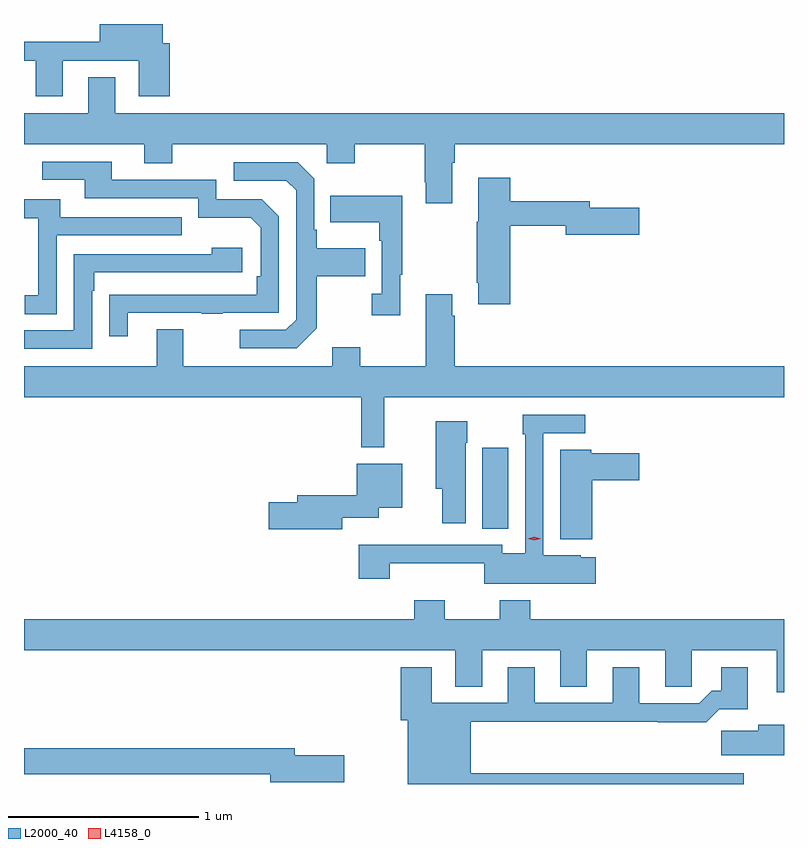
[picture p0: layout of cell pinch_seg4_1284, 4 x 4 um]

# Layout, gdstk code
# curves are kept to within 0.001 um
import gdstk
lib = gdstk.Library(unit=1e-6, precision=1e-09)
def R(c, l, rs):  # rectangles x0, y0, x1, y1
    for r in rs: c.add(gdstk.rectangle(r[:2], r[2:], *l))
def P(c, l, *ps):  # polygons
    for p in ps: c.add(gdstk.Polygon(p, *l))
L2000_40 = (2000, 40)
L4158_0 = (4158, 0)

pinch_seg4_1284 = lib.new_cell('pinch_seg4_1284')
R(pinch_seg4_1284, L2000_40, [(269.69,772.153,269.827,772.579)])
P(pinch_seg4_1284, L2000_40, [(267.481,774.615),(267.881,774.615),(267.881,774.429),(268.046,774.429),(268.046,774.708),(268.009,774.708),(268.009,774.809),(267.677,774.809),(267.677,774.716),(267.278,774.716),(267.278,774.615),(267.341,774.615),(267.341,774.429),(267.481,774.429)],
  [(269.533,774.08),(269.546,774.08),(269.546,774.176),(271.278,774.176),(271.278,774.34),(267.757,774.34),(267.757,774.53),(267.617,774.53),(267.617,774.34),(267.278,774.34),(267.278,774.176),(267.911,774.176),(267.911,774.077),(268.059,774.077),(268.059,774.176),(268.872,774.176),(268.872,774.077),(269.019,774.077),(269.019,774.176),(269.386,774.176),(269.386,773.977),(269.393,773.977),(269.393,773.865),(269.533,773.865)],
  [(267.823,773.289),(268.213,773.289),(268.213,773.284),(268.325,773.284),(268.325,773.289),(268.62,773.289),(268.62,773.796),(268.53,773.886),(268.29,773.886),(268.29,773.988),(267.739,773.988),(267.739,774.084),(267.375,774.084),(267.375,773.988),(267.599,773.988),(267.599,773.892),(268.194,773.892),(268.194,773.789),(268.471,773.789),(268.524,773.736),(268.524,773.482),(268.504,773.482),(268.504,773.385),(267.727,773.384),(267.727,773.166),(267.823,773.166)],
  [(268.819,773.209),(268.819,773.482),(269.075,773.482),(269.075,773.629),(268.819,773.629),(268.819,773.725),(268.806,773.725),(268.806,773.994),(268.719,774.081),(268.383,774.081),(268.383,773.985),(268.659,773.985),(268.71,773.934),(268.71,773.253),(268.656,773.199),(268.413,773.199),(268.413,773.103),(268.713,773.103)],
  [(269.837,773.746),(270.128,773.746),(270.128,773.699),(270.517,773.699),(270.517,773.841),(270.256,773.841),(270.256,773.875),(269.837,773.875),(269.837,774.001),(269.669,774.001),(269.669,773.769),(269.662,773.769),(269.662,773.446),(269.669,773.446),(269.669,773.334),(269.837,773.334)],
  [(269.257,773.489),(269.269,773.489),(269.269,773.905),(268.891,773.905),(268.891,773.765),(269.148,773.765),(269.148,773.669),(269.16,773.669),(269.16,773.39),(269.109,773.39),(269.109,773.277),(269.257,773.277)],
  [(267.45,773.697),(268.109,773.697),(268.109,773.793),(267.469,773.793),(267.469,773.887),(267.278,773.887),(267.278,773.787),(267.354,773.787),(267.354,773.382),(267.282,773.382),(267.282,773.281),(267.45,773.281)],
  [(267.636,773.405),(267.649,773.405),(267.649,773.502),(268.426,773.502),(268.426,773.632),(268.265,773.632),(268.265,773.598),(267.54,773.598),(267.54,773.196),(267.278,773.196),(267.278,773.1),(267.636,773.1)],
  [(269.174,772.844),(271.278,772.844),(271.278,773.008),(269.546,773.008),(269.546,773.273),(269.533,773.273),(269.533,773.386),(269.393,773.386),(269.393,773.008),(269.049,773.008),(269.049,773.107),(268.901,773.107),(268.901,773.008),(268.117,773.008),(268.117,773.203),(267.977,773.203),(267.977,773.008),(267.278,773.008),(267.278,772.844),(269.053,772.844),(269.053,772.581),(269.174,772.581)],
  [(270.286,772.003),(270.207,772.003),(270.207,772.012),(270.012,772.012),(270.012,772.656),(270.232,772.656),(270.232,772.752),(269.904,772.752),(269.904,772.649),(269.916,772.649),(269.916,772.024),(269.796,772.024),(269.796,772.068),(269.287,772.068),(269.287,772.069),(269.039,772.069),(269.039,771.888),(269.204,771.888),(269.204,771.971),(269.7,771.971),(269.7,771.863),(270.286,771.863)],
  [(269.602,772.604),(269.61,772.604),(269.61,772.717),(269.444,772.717),(269.444,772.364),(269.48,772.364),(269.48,772.182),(269.602,772.182)],
  [(270.268,772.409),(270.517,772.409),(270.517,772.551),(270.264,772.551),(270.264,772.567),(270.101,772.567),(270.101,772.097),(270.268,772.097)],
  [(268.954,772.211),(269.146,772.211),(269.146,772.262),(269.269,772.262),(269.269,772.495),(269.03,772.495),(269.03,772.328),(268.715,772.328),(268.715,772.292),(268.566,772.292),(268.566,772.15),(268.954,772.15)],
  [(271.278,771.676),(269.942,771.676),(269.942,771.775),(269.782,771.775),(269.782,771.676),(269.493,771.676),(269.493,771.775),(269.333,771.775),(269.333,771.676),(267.278,771.676),(267.278,771.512),(269.549,771.512),(269.549,771.322),(269.689,771.322),(269.689,771.512),(270.101,771.512),(270.101,771.322),(270.241,771.322),(270.241,771.512),(270.653,771.512),(270.653,771.322),(270.792,771.322),(270.792,771.512),(271.241,771.512),(271.241,771.291),(271.278,771.291)],
  [(271.066,770.866),(269.629,770.866),(269.629,771.136),(270.613,771.136),(270.613,771.134),(270.869,771.134),(270.938,771.203),(271.087,771.203),(271.087,771.424),(270.947,771.424),(270.947,771.301),(270.898,771.301),(270.831,771.234),(270.517,771.234),(270.517,771.424),(270.377,771.424),(270.377,771.237),(269.965,771.237),(269.965,771.424),(269.825,771.424),(269.825,771.237),(269.425,771.237),(269.425,771.424),(269.261,771.424),(269.261,771.144),(269.297,771.144),(269.297,770.809),(271.066,770.809)],
  [(271.278,771.121),(271.142,771.121),(271.142,771.089),(270.948,771.089),(270.948,770.96),(271.278,770.96)],
  [(268.963,770.96),(268.702,770.96),(268.702,770.996),(267.278,770.996),(267.278,770.86),(268.574,770.86),(268.574,770.818),(268.963,770.818)])
P(pinch_seg4_1284, L4158_0, [(269.964,772.091),(269.928,772.1),(269.928,772.101),(269.928,772.101),(269.964,772.111),(269.999,772.101),(269.999,772.101),(269.999,772.1)])

lib.write_gds('pinch_seg4_1284.gds')
